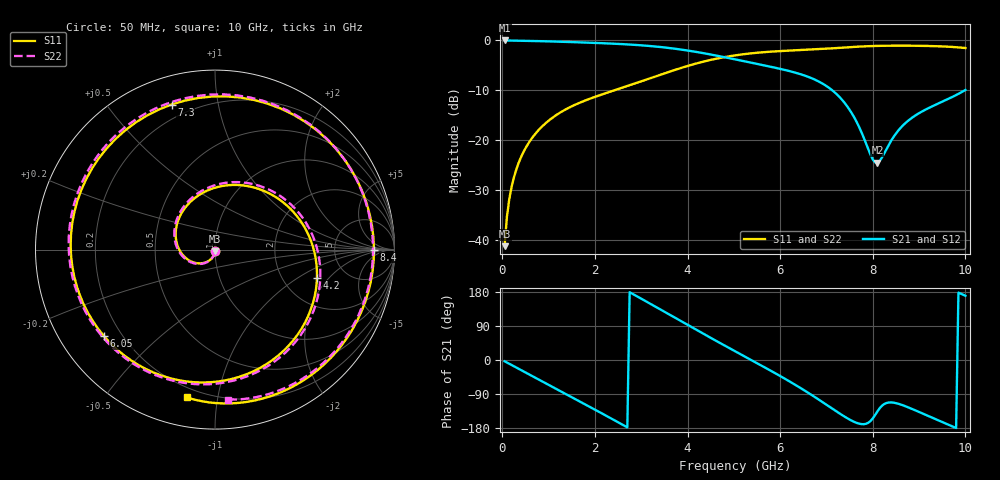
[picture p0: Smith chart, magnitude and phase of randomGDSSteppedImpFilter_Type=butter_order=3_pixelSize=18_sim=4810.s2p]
! freq	dB(S11)	phase(S11)	dB(S12)	phase(S12)
!  dB(S21)	phase(S21)	dB(S22)	phase(S22)
!S-par simulation data
#  GHz  S  DB  R 50
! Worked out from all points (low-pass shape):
!   200 points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, 50 MHz to 10 GHz, reference 50 ohm
!   highest |S21| = -0.01 dB at 50 MHz (marker M1); lowest = -24.5 dB at 8.1 GHz (marker M2)
!   |S21| within 3 dB of the highest: start of sweep to 4.604 GHz
!   lowest |S11| = -41.2 dB at 50 MHz (marker M3), VSWR 1.02, Z = 50 - j0.866 ohm
!   |S11| at or under -10 dB: start of sweep to 2.42 GHz
!   |S22| runs from -41.3 to -1.1 dB; largest |S21 - S12| = 0
!   S11 on the Smith chart (normalised r, x): 50 MHz: 1.00, -0.02; 4.2 GHz: 3.10, -1.48; 6.05 GHz: 0.14, -0.34; 7.3 GHz: 0.13, +0.74; 8.4 GHz: 16, +0; 10 GHz: 0.15, -0.82
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0.05  -41.24 -91.7  -0.01 -3.3  -0.01 -3.3  -41.27 -90.4
0.1  -35.34 -95.6  -0.01 -6.6  -0.01 -6.6  -35.35 -95.2
0.2  -29.40 -103.1  -0.03 -13.2  -0.03 -13.2  -29.40 -102.6
0.5  -21.62 -124.0  -0.08 -32.8  -0.08 -32.8  -21.62 -122.5
1.15  -15.06 -167.7  -0.23 -75.3  -0.23 -75.3  -15.06 -164.4
1.75  -12.19 152.0  -0.41 -114.5  -0.41 -114.5  -12.19 157.3
2.6  -9.45 94.4  -0.74 -170.9  -0.74 -170.9  -9.45 102.0
3.4  -6.93 39.5  -1.31 134.3  -1.31 134.3  -6.93 47.7
3.8  -5.69 12.0  -1.75 106.6  -1.75 106.6  -5.69 20.0
4.2  -4.59 -15.3  -2.32 78.9  -2.32 78.9  -4.59 -7.7
5.05  -2.96 -72.5  -3.84 21.6  -3.84 21.6  -2.95 -65.1
5.55  -2.43 -106.3  -4.80 -11.7  -4.80 -11.7  -2.41 -98.4
6.05  -2.11 -142.0  -5.80 -45.7  -5.80 -45.7  -2.08 -132.5
6.7  -1.82 165.0  -7.65 -93.9  -7.65 -93.9  -1.77 178.7
7.3  -1.47 106.7  -11.52 -142.4  -11.52 -142.4  -1.44 125.6
7.7  -1.24 65.1  -17.25 -167.8  -17.25 -167.8  -1.25 86.7
8.1  -1.10 26.0  -24.53 -135.8  -24.53 -135.8  -1.14 48.3
8.35  -1.06 4.1  -20.84 -112.1  -20.84 -112.1  -1.11 26.0
8.4  -1.06 0.0  -20.05 -112.0  -20.05 -112.0  -1.11 21.7
8.75  -1.05 -26.4  -16.20 -124.2  -16.20 -124.2  -1.10 -6.0
9.2  -1.11 -55.4  -13.58 -147.8  -13.58 -147.8  -1.14 -37.1
10  -1.53 -100.7  -9.93 169.5  -9.93 169.5  -1.53 -85.1
